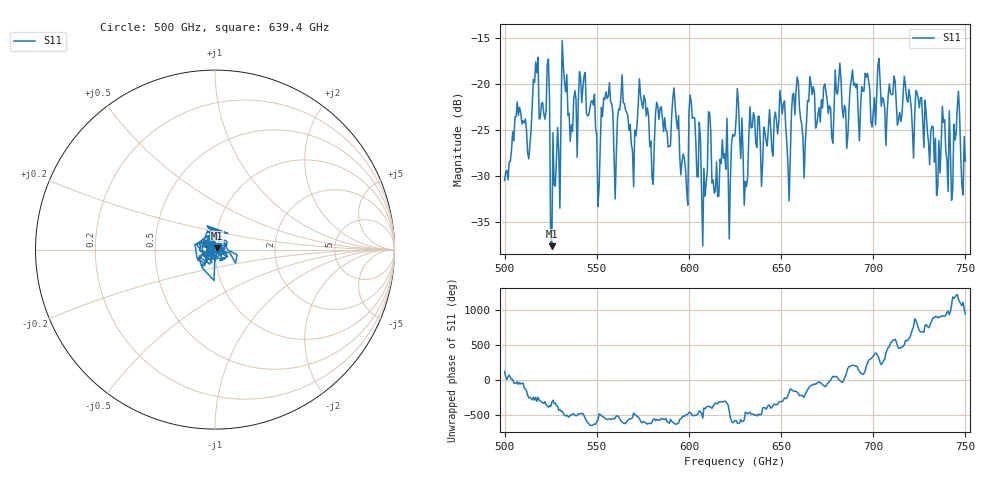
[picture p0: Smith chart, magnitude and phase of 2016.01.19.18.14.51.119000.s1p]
!Created with skrf (http://scikit-rf.org).
# GHz S RI R 50.0
!freq ReS11 ImS11
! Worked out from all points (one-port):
!   401 points, 500 GHz to 750 GHz, reference 50 ohm
!   lowest |S11| = -37.7 dB at 525.6 GHz (marker M1), VSWR 1.03, Z = 51 + j0.826 ohm
!   |S11| at or under -10 dB: start of sweep to end of sweep
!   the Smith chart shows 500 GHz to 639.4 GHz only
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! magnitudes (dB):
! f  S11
! 500 GHz  -30.5
! 506.9 GHz  -22.0
! 513.1 GHz  -28.2
! 516.9 GHz  -17.6
! 523.1 GHz  -17.9
! 525.6 GHz  -37.7
! 531.2 GHz  -15.3
! 542.5 GHz  -20.3
! 550.6 GHz  -33.3
! 562.5 GHz  -22.8
! 570 GHz  -31.2
! 574.4 GHz  -22.1
! 580 GHz  -30.2
! 593.8 GHz  -24.9
! 598.1 GHz  -29.3
! 601.9 GHz  -23.8
! 608.1 GHz  -29.2
! 610.6 GHz  -23.0
! 615 GHz  -28.5
! 625 GHz  -25.6
! 630.6 GHz  -30.6
! 634.4 GHz  -24.7
! 650.6 GHz  -23.2
! 653.8 GHz  -28.8
! 656.2 GHz  -21.2
! 687.5 GHz  -20.3
! 718.8 GHz  -22.0
! 750 GHz  -28.4
